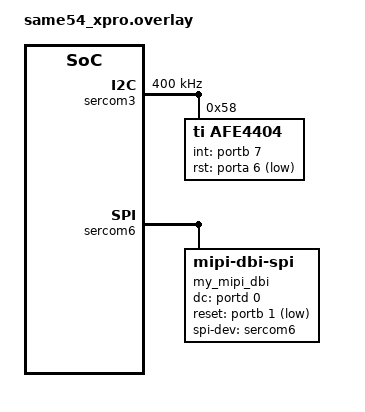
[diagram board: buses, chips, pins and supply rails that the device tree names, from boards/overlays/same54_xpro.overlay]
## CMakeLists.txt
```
cmake_minimum_required(VERSION 3.20.0)

# ------------------------------------------------------------
# Board-specific DTS overlays (MUST be set before Zephyr)
# ------------------------------------------------------------
if(DEFINED BOARD)
  if(BOARD STREQUAL "same54_xpro")
    list(APPEND DTC_OVERLAY_FILE
      ${CMAKE_CURRENT_SOURCE_DIR}/boards/overlays/same54_xpro.overlay
    )
  elseif(BOARD STREQUAL "samd21_iot_wg")
    list(APPEND DTC_OVERLAY_FILE
      ${CMAKE_CURRENT_SOURCE_DIR}/boards/overlays/samd21_iot_wg.overlay
    )
  elseif(BOARD STREQUAL "samd21_iot_wg2")
    list(APPEND DTC_OVERLAY_FILE
      ${CMAKE_CURRENT_SOURCE_DIR}/boards/overlays/samd21_iot_wg2.overlay
    )
    elseif(BOARD STREQUAL "samd21_xpro_ot")
    list(APPEND DTC_OVERLAY_FILE
      ${CMAKE_CURRENT_SOURCE_DIR}/boards/overlays/samd21_xpro_ot.overlay
    )
  endif()

endif()

find_package(Zephyr REQUIRED HINTS $ENV{ZEPHYR_BASE})

project(mchp_hrm_gfx)

target_include_directories(app PRIVATE ${CMAKE_CURRENT_SOURCE_DIR}/include)

target_sources(app PRIVATE
    src/main.c
    src/hrm_text.c
    src/hrm_chart.c
    src/afe4404.c
)
```

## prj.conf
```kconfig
# Enable console output
CONFIG_PRINTK=y
CONFIG_NEWLIB_LIBC=y
CONFIG_CBPRINTF_FP_SUPPORT=y

# Configure SPI
CONFIG_GPIO=y
CONFIG_SPI=y

# Configure I2C
CONFIG_I2C=y
CONFIG_I2C_SAM0=y
CONFIG_I2C_INIT_PRIORITY=60
CONFIG_I2C_LOG_LEVEL_DBG=y
CONFIG_PINCTRL=y
CONFIG_PINCTRL_SAM0=y

# Sensor subsystem
CONFIG_SENSOR=y

CONFIG_LOG=y
CONFIG_SENSOR_LOG_LEVEL_DBG=y
CONFIG_PINCTRL_LOG_LEVEL_DBG=y 

CONFIG_INPUT=y
CONFIG_GPIO_SAM0=y

CONFIG_MAIN_STACK_SIZE=8192
CONFIG_SYSTEM_WORKQUEUE_STACK_SIZE=4096

CONFIG_DISPLAY=y
CONFIG_DISPLAY_LOG_LEVEL_ERR=y

CONFIG_LVGL=y
CONFIG_LV_Z_MEM_POOL_SIZE=40000
CONFIG_LV_Z_VDB_SIZE=10

# Display needs data in BGR format, with endianess swapped for SPI
CONFIG_LV_COLOR_DEPTH_16=y
CONFIG_LV_COLOR_16_SWAP=y

CONFIG_SYS_CLOCK_EXISTS=y
CONFIG_LV_CONF_MINIMAL=y
CONFIG_LV_USE_LABEL=y
CONFIG_LV_USE_BUTTON=y
CONFIG_LV_USE_CHART=y
CONFIG_LV_USE_IMAGE=y
CONFIG_LV_USE_THEME_DEFAULT=y
CONFIG_LV_FONT_MONTSERRAT_28=y
CONFIG_LV_FONT_MONTSERRAT_16=y
CONFIG_LV_USE_ARC=y
CONFIG_LV_USE_SCALE=y
CONFIG_LV_USE_LINE=y

CONFIG_TICKLESS_KERNEL=n
CONFIG_LV_USE_BAR=n
CONFIG_LV_USE_DROPDOWN=n
CONFIG_LV_USE_SLIDER=n
CONFIG_LV_USE_TEXTAREA=n
CONFIG_LV_USE_CANVAS=n
CONFIG_LV_USE_THEME_MONO=n
```

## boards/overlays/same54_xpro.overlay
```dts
#include <zephyr/dt-bindings/display/panel.h>

/{
    aliases {
        afe4404sensor = &afe4404;
        spi6 = &sercom6;
    };

    chosen {
        zephyr,display = &gc9x01x_lcd;
    };   
};

&pinctrl {
	sercom6_spi_default: sercom6_spi_default {
		group1 {
			pinmux = <PC5C_SERCOM6_PAD1>,
                    <PC4C_SERCOM6_PAD0>,
	                <PC7C_SERCOM6_PAD3>;
		};
	};

    sercom3_i2c_default: sercom3_i2c_default {
        group1 {
            pinmux = <PA22C_SERCOM3_PAD0>,
                    <PA23C_SERCOM3_PAD1>;
        };
    };
};

&sercom3 {
    status = "okay";
    compatible = "atmel,sam0-i2c";
    clock-frequency = <I2C_BITRATE_FAST>;
    #address-cells = <1>;
    #size-cells = <0>;
    pinctrl-0 = <&sercom3_i2c_default>;
    pinctrl-names = "default";

    afe4404: afe4404@58 {
        status = "okay";
        compatible = "ti,afe4404";
        reg = <0x58>;

        int-gpios = <&portb 7 GPIO_ACTIVE_HIGH>;
        rst-gpios = <&porta 6 (GPIO_ACTIVE_LOW | GPIO_PULL_UP)>;
    };
};

&sercom6 {
    status = "okay";
    compatible = "atmel,sam0-spi";
    dipo = <3>;
    dopo = <0>;

    #address-cells = <1>;
    #size-cells = <0>;

    pinctrl-0 = <&sercom6_spi_default>;
	pinctrl-names = "default";

    /* Use SPI SS pin as GPIO CS */
    cs-gpios = <&portc 6 GPIO_ACTIVE_LOW>;

    my_mipi_dbi {
        compatible = "zephyr,mipi-dbi-spi";
        status = "okay";
        #address-cells = <1>;
        #size-cells = <0>;
        spi-dev = <&sercom6>;
        dc-gpios = <&portd 0 GPIO_ACTIVE_HIGH>;
        reset-gpios = <&portb 1 GPIO_ACTIVE_LOW>;

        gc9x01x_lcd: gc9x01x_lcd@0 {
            compatible = "galaxycore,gc9x01x";
            reg = <0>;
            mipi-max-frequency = <20000000>;
            pixel-format = <PANEL_PIXEL_FORMAT_RGB_565>;
            width = <240>;
            height = <240>;
            display-inversion;
        };
    };
};
```

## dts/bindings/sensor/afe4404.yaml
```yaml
# dts/bindings/sensor/afe4404.yaml
description: "TI AFE4404 Heart Rate Sensor"
compatible: "ti,afe4404"

properties:
  int-gpios:
    type: phandle-array
    required: false
    description: "Optional interrupt GPIO line"

  rst-gpios:
    type: phandle-array
    required: false
    description: "Optional Reset GPIO line"

  reg:
    type: int
    required: true
    description: "I2C address of the sensor"

# Optional: define any standard Zephyr sensor properties
```

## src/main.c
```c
/*
 * Main application for VL6180 visualization on a round display.
 *
 * This program initializes a VL6180 sensor, display, and LVGL UI to show
 * sensor data in two modes: text display, rolling chart.
 * Button presses cycle between screens.
 */
#include <zephyr/kernel.h>
#include <zephyr/sys/printk.h>
#include <zephyr/drivers/gpio.h>
#include <zephyr/input/input.h>
#include <zephyr/device.h>
#include <zephyr/drivers/sensor.h>
#include <zephyr/drivers/display.h>
#include <zephyr/drivers/spi.h>
#include <zephyr/drivers/i2c.h>
#include <lvgl.h>
#include <soc.h>
#include <stdio.h>
#include <stdlib.h>
#include "afe4404.h"
#include "hrm_text.h"
#include "hrm_chart.h"

#define SLEEP_TIME_MS 10  /* Main loop sleep time */

static volatile int irq_from_button = 0;  /* Flag set by button interrupt */
static bool button_pressed = false;  /* Current button state */

static const struct gpio_dt_spec led = GPIO_DT_SPEC_GET(DT_ALIAS(led0), gpios);

static const struct gpio_dt_spec switch0 = GPIO_DT_SPEC_GET(DT_ALIAS(sw0), gpios);
static const struct gpio_dt_spec switch1 = GPIO_DT_SPEC_GET_OR(DT_ALIAS(sw1), gpios, {0});
static const struct device *hrm_dev = DEVICE_DT_GET_ANY(ti_afe4404);

/* Static storage for the LVGL screens */
static lv_obj_t *text_screen = NULL;
static lv_obj_t *chart_screen = NULL;

#define SCREEN_COUNT 2

typedef enum {
    SCREEN_TEXT = 0,
    SCREEN_CHART
} screen_mode_t;

static screen_mode_t current_screen = SCREEN_TEXT;

/* --- Heart rate processing state --- */
#define SATURATION_THRESHOLD  2000000  /* LED saturated above this */
#define FINGER_ON_THRESHOLD   20000    /* ALED drops below this when finger present */
#define FINGER_OFF_THRESHOLD  100000   /* ALED rises above this when finger removed */
#define MIN_PEAK_INTERVAL_MS  300      /* 200 BPM max */
#define MAX_PEAK_INTERVAL_MS  2000     /* 30 BPM min */
#define BPM_SMOOTHING         0.3f     /* EMA smoothing for BPM output */

static int bpm = 0;
static bool finger_on = false;

/* DC removal filter state */
static float dc_level = 0;

/* Bandpass filter state (simple IIR) */
static float hp_prev_in = 0;
static float hp_prev_out = 0;
static float lp_out = 0;

/* Peak detection state */
static float prev_samples[3] = {0};
static uint32_t last_peak_time = 0;
static float smooth_bpm = 0;

void process_ppg(int32_t led1, int32_t aled1, int *out_bpm)
{
    /*
     * Finger detection strategy:
     * - LED1 saturates at ~2.1M when finger present (too much reflected light)
     * - ALED1 drops to ~25k when finger blocks ambient light
     * - Use ALED1 for PPG since it has variation (~500 counts) when finger present
     */
    bool led_saturated = (led1 > SATURATION_THRESHOLD);
    bool ambient_blocked = (aled1 < FINGER_OFF_THRESHOLD);

    /* Detect finger placement */
    if (!finger_on && led_saturated && ambient_blocked) {
        finger_on = true;
        dc_level = aled1;
        hp_prev_in = hp_prev_out = 0;
        lp_out = 0;
        prev_samples[0] = prev_samples[1] = prev_samples[2] = 0;
        last_peak_time = 0;
        smooth_bpm = 0;
        *out_bpm = 0;
        return;
    }

    /* Detect finger removal */
    if (finger_on && (!led_saturated || !ambient_blocked)) {
        finger_on = false;
        *out_bpm = 0;
        return;
    }

    if (!finger_on) {
        *out_bpm = 0;
        return;
    }

    /*
     * Use ALED1 (ambient) for PPG processing.
     * When LED is saturated, the small variation in ambient channel
     * contains the PPG signal from LED light bleeding through.
     */
    float raw = (float)aled1;

    /* DC removal with slow-tracking IIR (tau ~ 2-3 seconds at 100Hz) */
    dc_level = 0.995f * dc_level + 0.005f * raw;
    float ac = raw - dc_level;

    /* High-pass filter: remove drift below ~0.5Hz */
    float hp_out = 0.95f * (hp_prev_out + ac - hp_prev_in);
    hp_prev_in = ac;
    hp_prev_out = hp_out;

    /* Low-pass filter: smooth noise above ~5Hz */
    lp_out = 0.8f * lp_out + 0.2f * hp_out;

    /* Shift sample history */
    prev_samples[2] = prev_samples[1];
    prev_samples[1] = prev_samples[0];
    prev_samples[0] = lp_out;

    /* Peak detection: look for local maximum
     * Note: threshold lowered since ALED variation is small (~500 counts)
     */
    if (prev_samples[1] > prev_samples[2] &&
        prev_samples[1] > prev_samples[0] &&
        prev_samples[1] > 5.0f) {  /* Lower threshold for small signal */

        uint32_t now = k_uptime_get();

        if (last_peak_time != 0) {
            uint32_t interval = now - last_peak_time;

            if (interval >= MIN_PEAK_INTERVAL_MS && interval <= MAX_PEAK_INTERVAL_MS) {
                float instant_bpm = 60000.0f / interval;

                /* Smooth BPM with EMA, reject outliers */
                if (smooth_bpm == 0) {
                    smooth_bpm = instant_bpm;
                } else if (instant_bpm > 40 && instant_bpm < 200) {
                    smooth_bpm = BPM_SMOOTHING * instant_bpm +
                                 (1.0f - BPM_SMOOTHING) * smooth_bpm;
                }

                *out_bpm = (int)(smooth_bpm + 0.5f);
            }
        }
        last_peak_time = now;
    }
}

void heartbeat_thread(void)
{
    while (1) {
        gpio_pin_set_dt(&led, 1);
        k_msleep(100);

        gpio_pin_set_dt(&led, 0);
        k_msleep(100);

        gpio_pin_set_dt(&led, 1);
        k_msleep(100);

        gpio_pin_set_dt(&led, 0);
        k_msleep(700);
    }
}

K_THREAD_DEFINE(heartbeat_tid, 512, heartbeat_thread, NULL, NULL, NULL,
                7, 0, 0);

/*
 * LVGL input device read callback for button input.
 * Maps GPIO button state to LVGL touch events.
 */
static void lv_button_read(lv_indev_t * indev_drv, lv_indev_data_t * data)
{
    button_pressed = gpio_pin_get_dt(&switch0) == 1;
    data->state = button_pressed ? LV_INDEV_STATE_PRESSED : LV_INDEV_STATE_RELEASED;
    data->point.x = 120;  /* Dummy touch coordinates */
    data->point.y = 160;
}

/*
 * Button input event callback (legacy, not used for LVGL).
 */
static void button_input_cb(struct input_event *evt, void *user_data)
{
    if (evt->sync == 0) {
        return;
    }

    irq_from_button = 1;
    printk("Button %d %s\n", evt->code, evt->value ? "pressed" : "released");
}

INPUT_CALLBACK_DEFINE(NULL, button_input_cb, NULL);

int main(void)
{
    int ret;
    struct sensor_value led1, aled1;

    printk("Application started\n");

    /* Initialize LED GPIO */
    if (!gpio_is_ready_dt(&led)) {
        return 0;
    }

    ret = gpio_pin_configure_dt(&led, GPIO_OUTPUT_ACTIVE);
    if (ret < 0) {
        return 0;
    }

    /* Enable button interrupts */
    if (device_is_ready(switch0.port)) {
        gpio_pin_interrupt_configure_dt(&switch0, GPIO_INPUT);
    }

    if (device_is_ready(switch1.port)) {
        gpio_pin_interrupt_configure_dt(&switch1, GPIO_INPUT);
    }

    if (!device_is_ready(hrm_dev)) {
        printk("AFE4404 device not ready\n");
        return 0;
    }

    /* Initialize display and LVGL */
    const struct device *display_dev;

    display_dev = DEVICE_DT_GET(DT_CHOSEN(zephyr_display));
    if (!device_is_ready(display_dev)) {
        printk("Device not ready, aborting test\n");
        return 0;
    }

    display_set_pixel_format(display_dev, PIXEL_FORMAT_RGB_565);
    display_blanking_off(display_dev);

    /* Create LVGL input device for button */
    lv_indev_t *indev = lv_indev_create();
    lv_indev_set_type(indev, LV_INDEV_TYPE_POINTER);
    lv_indev_set_read_cb(indev, lv_button_read);

    /* ======== LVGL Screen Initialization ======== */
    /* Create text screen */
    text_screen = lv_obj_create(NULL);
    lv_scr_load(text_screen);
    hrm_text_init(text_screen);

    chart_screen = lv_obj_create(NULL);
    hrm_chart_init(chart_screen);

    /* Temporary next button */
    lv_obj_t *btn = lv_button_create(lv_screen_active());
    lv_obj_set_size(btn, 80, 40);
    lv_obj_align(btn, LV_ALIGN_CENTER, 0, 60);

    lv_obj_t *btn_label = lv_label_create(btn);
    lv_label_set_text(btn_label, "Next");
    lv_obj_center(btn_label);

    /* Main application loop */
    while (1) {
        /* Toggle LED */
        // ret = gpio_pin_toggle_dt(&led);
        // if (ret < 0) {
        //     return 0;
        // }

        /* Handle button press to switch screens */
        if (irq_from_button) {            
            irq_from_button = 0;
            button_pressed = gpio_pin_get_dt(&switch0) == 1;

            /* Remove welcome UI elements on first press */
            if (btn != NULL) {
                lv_obj_del(btn);
                btn = NULL;
            }

            if (button_pressed) {
                current_screen = (current_screen + 1) % SCREEN_COUNT;

                /* Load the new screen */
                switch(current_screen) {
                    case SCREEN_TEXT:
                        lv_scr_load(text_screen);
                        break;
                    case SCREEN_CHART:
                        lv_scr_load(chart_screen);
                        break;
                }
            }
        }

        if (sensor_sample_fetch(hrm_dev) == 0) {
            // gpio_pin_toggle_dt(&led);  /* Toggle LED on each sample for visual heartbeat */
            /* Read only the channels needed for PPG */
            sensor_channel_get(hrm_dev, SENSOR_CHAN_AFE4404_LED1, &led1);
            sensor_channel_get(hrm_dev, SENSOR_CHAN_AFE4404_ALED1, &aled1);

            process_ppg(led1.val1, aled1.val1, &bpm);

            switch(current_screen) {
                case SCREEN_TEXT:
                    update_hrm_text(bpm);
                    break;
                case SCREEN_CHART:
                    /* Pass filtered AC signal for ECG-style display */
                    update_hrm_chart((int32_t)lp_out);
                    break;
            }
        }

        /* Run LVGL timer handler for UI updates */
        lv_timer_handler();

        k_msleep(SLEEP_TIME_MS);
    }

    return 0;
}
```

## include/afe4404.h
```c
#ifndef ZEPHYR_DRIVERS_SENSOR_AFE4404_H_
#define ZEPHYR_DRIVERS_SENSOR_AFE4404_H_

#include <zephyr/drivers/i2c.h>
#include <zephyr/drivers/gpio.h>
#include <zephyr/drivers/sensor.h>

/**
 * AFE4404 custom sensor channels (starting from SENSOR_CHAN_PRIV_START)
 */
enum afe4404_channel {
    SENSOR_CHAN_AFE4404_LED1 = SENSOR_CHAN_PRIV_START,  /* LED1 (red/IR) raw */
    SENSOR_CHAN_AFE4404_LED2,                           /* LED2 (green) raw */
    SENSOR_CHAN_AFE4404_ALED1,                          /* Ambient during LED1 phase */
    SENSOR_CHAN_AFE4404_ALED2,                          /* Ambient during LED2 phase */
    SENSOR_CHAN_AFE4404_LED1_ALED1,                     /* LED1 - ambient (corrected) */
    SENSOR_CHAN_AFE4404_LED2_ALED2,                     /* LED2 - ambient (corrected) */
};


/**
 * AFE4404 Timing control registers.
 */
#define AFE4404_REG0H                       0x00
#define AFE4404_REG1H                       0x01
#define AFE4404_REG2H                       0x02
#define AFE4404_REG3H                       0x03
#define AFE4404_REG4H                       0x04
#define AFE4404_REG5H                       0x05
#define AFE4404_REG6H                       0x06
#define AFE4404_REG7H                       0x07
#define AFE4404_REG8H                       0x08
#define AFE4404_REG9H                       0x09
#define AFE4404_REGAH                       0x0A
#define AFE4404_REGBH                       0x0B
#define AFE4404_REGCH                       0x0C
#define AFE4404_REGDH                       0x0D
#define AFE4404_REGEH                       0x0E
#define AFE4404_REGFH                       0x0F
#define AFE4404_REG10H                      0x10
#define AFE4404_REG11H                      0x11
#define AFE4404_REG12H                      0x12
#define AFE4404_REG13H                      0x13
#define AFE4404_REG14H                      0x14
#define AFE4404_REG15H                      0x15
#define AFE4404_REG16H                      0x16
#define AFE4404_REG17H                      0x17
#define AFE4404_REG18H                      0x18
#define AFE4404_REG19H                      0x19
#define AFE4404_REG1AH                      0x1A
#define AFE4404_REG1BH                      0x1B
#define AFE4404_REG1CH                      0x1C
#define AFE4404_REG1DH                      0x1D
#define AFE4404_REG1EH                      0x1E
#define AFE4404_REG20H                      0x20
#define AFE4404_REG21H                      0x21
#define AFE4404_REG22H                      0x22
#define AFE4404_REG23H                      0x23
#define AFE4404_REG29H                      0x29
#define AFE4404_REG2AH                      0x2A
#define AFE4404_REG2BH                      0x2B
#define AFE4404_REG2CH                      0x2C
#define AFE4404_REG2DH                      0x2D
#define AFE4404_REG2EH                      0x2E
#define AFE4404_REG2FH                      0x2F

/* ADC result registers with descriptive names */
#define AFE4404_LED2VAL                     0x2A  /* Green LED */
#define AFE4404_ALED2VAL                    0x2B  /* Ambient during LED2 phase */
#define AFE4404_LED1VAL                     0x2C  /* Red/IR LED */
#define AFE4404_ALED1VAL                    0x2D  /* Ambient during LED1 phase */
#define AFE4404_LED2_ALED2                  0x2E  /* LED2 minus ambient */
#define AFE4404_LED1_ALED1                  0x2F  /* LED1 minus ambient */
#define AFE4404_REG31H                      0x31

/**
 * AFE4404 timing controls for dynamic power-down registers.
 */
#define AFE4404_REG32H                      0x32
#define AFE4404_REG33H                      0x33
#define AFE4404_REG34H                      0x34
#define AFE4404_REG35H                      0x35

/**
 * AFE4404 Timing controls for driving the third LED registers.
 */
#define AFE4404_REG36H                      0x36
#define AFE4404_REG37H                      0x37
#define AFE4404_REG39H                      0x39
#define AFE4404_REG3AH                      0x3A
#define AFE4404_REG3DH                      0x3D
#define AFE4404_REG3FH                      0x3F
#define AFE4404_REG40H                      0x40

/* Device configuration */
struct afe4404_config {
    struct i2c_dt_spec i2c;
    struct gpio_dt_spec int_gpio;
    struct gpio_dt_spec rst_gpio;
    bool continuous;
};

/* Runtime data */
struct afe4404_data {
    uint32_t led2_val;      /* Green LED raw */
    uint32_t aled2_val;     /* Ambient during LED2 phase */
    uint32_t led1_val;      /* Red/IR LED raw */
    uint32_t aled1_val;     /* Ambient during LED1 phase */
    uint32_t led2_diff;     /* LED2 - ambient */
    uint32_t led1_diff;     /* LED1 - ambient */

    const struct device *dev;

    /* Interrupt handling */
    struct gpio_callback gpio_cb;
    struct k_sem data_ready;
};

#endif /* ZEPHYR_DRIVERS_SENSOR_AFE4404_H_ */
```

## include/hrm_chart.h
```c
/**
 * @file hrm_chart.h
 *
 * Helper APIs for rendering a rolling HRM sensor chart using LVGL.
 * This module creates a small oscilloscope-style chart that plots the
 * HRM channel in real time.
 */
#ifndef _HRM_CHART_H
#define _HRM_CHART_H

#include <zephyr/drivers/sensor.h>
#include <lvgl.h>
#include <stdint.h>

/**
 * Initialize the HRM chart.
 *
 * This must be called once before calling update_hrm_chart(). The returned
 * object is the same parent that was passed in, which allows chaining in the
 * caller if desired.
 *
 * @param parent The LVGL object to contain the chart.
 * @return The same parent object passed in.
 */
lv_obj_t* hrm_chart_init(lv_obj_t *parent);

/**
 * Push new filtered AC sample into the ECG chart.
 *
 * This should be called whenever a new sample is available.
 * Pass the filtered AC component (lp_out) for ECG-style display.
 *
 * @param ac_value The filtered AC signal from PPG processing.
 */
void update_hrm_chart(int32_t ac_value);

#endif /* _HRM_CHART_H */
```

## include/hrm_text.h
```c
/**
 * @file bme280_text.h
 *
 * Helper APIs for BME280 sensor text display using LVGL.
 * This module creates a simple text-based display for showing real-time
 * sensor values (Temperature/Pressure/Humidity).
 */
#ifndef _HRM_TEXT_H
#define _HRM_TEXT_H

#include <zephyr/drivers/sensor.h>
#include <lvgl.h>
#include <stdint.h>

/**
 * Initialize the HRM Text.
 *
 * This must be called once before calling update_hrm_text(). The returned
 * object is the same parent that was passed in, which allows chaining in the
 * caller if desired.
 *
 * @param parent The LVGL object to contain the text.
 * @return The same parent object passed in.
 */
lv_obj_t* hrm_text_init(lv_obj_t *parent);

/**
 * Push new heart rate samples into the text.
 *
 * This should be called whenever a new heart rate sample is available.
 *
 * @param bpm The current beats per minute value.
 */
void update_hrm_text(int bpm);

#endif /* _HRM_TEXT_H */
```

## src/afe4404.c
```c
#define DT_DRV_COMPAT ti_afe4404

#include <zephyr/kernel.h>
#include <zephyr/device.h>
#include <zephyr/drivers/i2c.h>
#include <zephyr/drivers/gpio.h>
#include <zephyr/drivers/sensor.h>
#include <zephyr/sys/printk.h>

#include "afe4404.h"

/* --- Low-level I2C --- */
static int write_reg24(const struct i2c_dt_spec *i2c, uint8_t reg, uint32_t val)
{
    /* AFE4404 registers are 24-bit: [addr][MSB][MID][LSB]. */
    uint8_t buf[4];
    buf[0] = reg;
    buf[1] = val >> 16;
    buf[2] = val >> 8;
    buf[3] = val;
    return i2c_write_dt(i2c, buf, 4);
}

static int read_reg24(const struct i2c_dt_spec *i2c, uint8_t reg, uint32_t *val)
{
    uint8_t hr_storage[5];
    uint8_t buf[2];
    uint32_t return_value = 0;
    int rval;

    buf[0] = reg;
    rval = i2c_write_read_dt(i2c, buf, 1, hr_storage, 3);
    
    /* Rebuild host-endian 24-bit value from the device byte stream. */
    return_value = hr_storage[0];
    return_value = return_value << 16;
    return_value |= hr_storage[1] << 8;
    return_value |= hr_storage[2];
    *val = return_value;

    return rval;
}

/* --- GPIO interrupt callback --- */
static void afe4404_gpio_callback(const struct device *port,
                                  struct gpio_callback *cb,
                                  uint32_t pins)
{
    ARG_UNUSED(port);
    ARG_UNUSED(pins);

    struct afe4404_data *data =
        CONTAINER_OF(cb, struct afe4404_data, gpio_cb);

    /* Wake the sampling thread waiting for DRDY. */
    k_sem_give(&data->data_ready);
}

/* --- Sensor init --- */
static int afe4404_init(const struct device *dev)
{
    const struct afe4404_config *cfg = dev->config;
    struct afe4404_data *data = dev->data;

    /* configure the enable pin and reset the device to a known state*/
    if (cfg->rst_gpio.port && device_is_ready(cfg->rst_gpio.port)) {
        const struct gpio_dt_spec rst_gpio = cfg->rst_gpio;
        const struct device* port = rst_gpio.port;

        gpio_pin_configure(port, rst_gpio.pin, GPIO_OUTPUT);
        gpio_pin_set(port, rst_gpio.pin, 1);
        k_msleep(2);
        gpio_pin_set(port, rst_gpio.pin, 0);     // Pull low to reset (pin is active low)
        k_msleep(10);                           // Hold 10 ms
        gpio_pin_set(port, rst_gpio.pin, 1);     // Release
        k_msleep(2);                            // Wait for stabilization
    }

    if (!device_is_ready(cfg->i2c.bus)) {
        printk("AFE4404: I2C bus not ready\n");
        return -ENODEV;
    }

    data->dev = dev;
    k_sem_init(&data->data_ready, 0, 1);

    /*
     * Program timing/control registers for the HRM use case.
     * These values define LED/ADC phases, conversion windows, and clocking.
     */
    write_reg24( &cfg->i2c, AFE4404_REG0H, 0x000000 );
    write_reg24( &cfg->i2c, AFE4404_REG1H, 0x000050 );
    write_reg24( &cfg->i2c, AFE4404_REG2H, 0x00018F );
    write_reg24( &cfg->i2c, AFE4404_REG3H, 0x000320 );
    write_reg24( &cfg->i2c, AFE4404_REG4H, 0x0004AF );
    write_reg24( &cfg->i2c, AFE4404_REG5H, 0x0001E0 );
    write_reg24( &cfg->i2c, AFE4404_REG6H, 0x00031F );
    write_reg24( &cfg->i2c, AFE4404_REG7H, 0x000370 );
    write_reg24( &cfg->i2c, AFE4404_REG8H, 0x0004AF );
    write_reg24( &cfg->i2c, AFE4404_REG9H, 0x000000 );
    write_reg24( &cfg->i2c, AFE4404_REGAH, 0x00018F );
    write_reg24( &cfg->i2c, AFE4404_REGBH, 0x0004FF );
    write_reg24( &cfg->i2c, AFE4404_REGCH, 0x00063E );
    write_reg24( &cfg->i2c, AFE4404_REGDH, 0x000198 );
    write_reg24( &cfg->i2c, AFE4404_REGEH, 0x0005BB );
    write_reg24( &cfg->i2c, AFE4404_REGFH, 0x0005C4 );
    write_reg24( &cfg->i2c, AFE4404_REG10H, 0x0009E7 );
    write_reg24( &cfg->i2c, AFE4404_REG11H, 0x0009F0 );
    write_reg24( &cfg->i2c, AFE4404_REG12H, 0x000E13 );
    write_reg24( &cfg->i2c, AFE4404_REG13H, 0x000E1C );
    write_reg24( &cfg->i2c, AFE4404_REG14H, 0x00123F );
    write_reg24( &cfg->i2c, AFE4404_REG15H, 0x000191 );
    write_reg24( &cfg->i2c, AFE4404_REG16H, 0x000197 );
    write_reg24( &cfg->i2c, AFE4404_REG17H, 0x0005BD );
    write_reg24( &cfg->i2c, AFE4404_REG18H, 0x0005C3 );
    write_reg24( &cfg->i2c, AFE4404_REG19H, 0x0009E9 );
    write_reg24( &cfg->i2c, AFE4404_REG1AH, 0x0009EF );
    write_reg24( &cfg->i2c, AFE4404_REG1BH, 0x000E15 );
    write_reg24( &cfg->i2c, AFE4404_REG1CH, 0x000E1B );
    write_reg24( &cfg->i2c, AFE4404_REG1DH, 0x009C3E );
    write_reg24( &cfg->i2c, AFE4404_REG1EH, 0x000103 ); 
    write_reg24( &cfg->i2c, AFE4404_REG20H, 0x008003 ); 
    write_reg24( &cfg->i2c, AFE4404_REG21H, 0x000013 ); 
    write_reg24( &cfg->i2c, AFE4404_REG22H, 0x01B6D9 ); 
    write_reg24( &cfg->i2c, AFE4404_REG23H, 0x104218 ); 
    write_reg24( &cfg->i2c, AFE4404_REG29H, 0x000000 ); 
    write_reg24( &cfg->i2c, AFE4404_REG31H, 0x000000 ); 
    write_reg24( &cfg->i2c, AFE4404_REG32H, 0x00155F ); 
    write_reg24( &cfg->i2c, AFE4404_REG33H, 0x00991E ); 
    write_reg24( &cfg->i2c, AFE4404_REG34H, 0x000000 );
    write_reg24( &cfg->i2c, AFE4404_REG35H, 0x00000f ); 
    write_reg24( &cfg->i2c, AFE4404_REG36H, 0x000190 ); 
    write_reg24( &cfg->i2c, AFE4404_REG37H, 0x00031F ); 
    write_reg24( &cfg->i2c, AFE4404_REG39H, 0x000000 ); 
    write_reg24( &cfg->i2c, AFE4404_REG3AH, 0x000000 );

    /* Configure interrupt GPIO setup */
    if (cfg->int_gpio.port && device_is_ready(cfg->int_gpio.port)) {
        gpio_pin_configure_dt(&cfg->int_gpio, GPIO_INPUT);

        gpio_init_callback(&data->gpio_cb,
                           afe4404_gpio_callback,
                           BIT(cfg->int_gpio.pin));

        gpio_add_callback(cfg->int_gpio.port, &data->gpio_cb);        
        
        gpio_pin_interrupt_configure_dt(&cfg->int_gpio,
                                        GPIO_INT_EDGE_TO_ACTIVE);
    }

    printk("AFE4404 init OK\n");
    return 0;
}

/* --- Sample fetch --- */
static int afe4404_sample_fetch(const struct device *dev,
                                enum sensor_channel chan)
{
    struct afe4404_data *data = dev->data;
    const struct afe4404_config *cfg = dev->config;

    ARG_UNUSED(chan);

    /* Wait for DRDY from GPIO interrupt before reading a fresh conversion. */
    if (k_sem_take(&data->data_ready, K_MSEC(10)) != 0) {
        return -ETIMEDOUT;
    }

    /* Read only the registers needed for PPG processing */
    read_reg24(&cfg->i2c, AFE4404_LED1VAL,  &data->led1_val);   /* Saturation detection */
    read_reg24(&cfg->i2c, AFE4404_ALED1VAL, &data->aled1_val);  /* PPG signal */

    return 0;
}

/* --- Channel get --- */
static int afe4404_channel_get(const struct device *dev,
                               enum sensor_channel chan,
                               struct sensor_value *val)
{
    struct afe4404_data *data = dev->data;

    val->val2 = 0;

    switch (chan) {
    /* Standard Zephyr sensor channels */
    case SENSOR_CHAN_GREEN:
    case SENSOR_CHAN_AFE4404_LED2:
        val->val1 = data->led2_val;
        break;
    case SENSOR_CHAN_RED:
    case SENSOR_CHAN_AFE4404_LED1:
        val->val1 = data->led1_val;
        break;
    case SENSOR_CHAN_LIGHT:
    case SENSOR_CHAN_AFE4404_LED1_ALED1:
        val->val1 = data->led1_diff;
        break;
    case SENSOR_CHAN_IR:
    case SENSOR_CHAN_AFE4404_LED2_ALED2:
        val->val1 = data->led2_diff;
        break;

    /* AFE4404 ambient channels */
    case SENSOR_CHAN_AFE4404_ALED1:
        val->val1 = data->aled1_val;
        break;
    case SENSOR_CHAN_AFE4404_ALED2:
        val->val1 = data->aled2_val;
        break;

    default:
        return -ENOTSUP;
    }

    return 0;
}

/* --- API --- */
static const struct sensor_driver_api afe4404_api = {
    .sample_fetch = afe4404_sample_fetch,
    .channel_get = afe4404_channel_get,
};

/* --- Instance macro --- */
#define AFE4404_DEFINE(inst)                                      \
    static struct afe4404_data afe4404_data_##inst;               \
    static const struct afe4404_config afe4404_config_##inst = {  \
        .i2c = I2C_DT_SPEC_INST_GET(inst),                        \
        .int_gpio = GPIO_DT_SPEC_INST_GET_OR(inst, int_gpios, {0}), \
        .rst_gpio = GPIO_DT_SPEC_INST_GET_OR(inst, rst_gpios, {0}), \
    };                                                           \
    DEVICE_DT_INST_DEFINE(inst,                                  \
                          afe4404_init,                          \
                          NULL,                                  \
                          &afe4404_data_##inst,                  \
                          &afe4404_config_##inst,                \
                          POST_KERNEL,                           \
                          CONFIG_SENSOR_INIT_PRIORITY,           \
                          &afe4404_api);

DT_INST_FOREACH_STATUS_OKAY(AFE4404_DEFINE)
```

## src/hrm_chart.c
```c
/*
 * ECG-style heart rate chart using LVGL.
 *
 * Displays the filtered PPG signal as a classic hospital monitor trace
 * with a sweeping line on a dark background.
 */
#include <zephyr/kernel.h>
#include <zephyr/sys/printk.h>
#include <stdlib.h>
#include <stdio.h>
#include <lvgl.h>
#include <math.h>
#include "hrm_chart.h"

static lv_obj_t *chart;
static lv_chart_series_t *ser_ecg;

/* Auto-scaling state - tracks signal range for tight zoom */
static float sig_min = 0;
static float sig_max = 100;
static bool first_sample = true;
static int32_t last_y_lo = -100;
static int32_t last_y_hi = 300;

lv_obj_t* hrm_chart_init(lv_obj_t *parent)
{
    /* Black background for parent (ECG monitor style) */
    lv_obj_set_style_bg_color(parent, lv_color_black(), 0);
    lv_obj_set_style_bg_opa(parent, LV_OPA_COVER, 0);

    /* Create chart */
    chart = lv_chart_create(parent);
    lv_obj_set_size(chart, 230, 180);
    lv_obj_align(chart, LV_ALIGN_CENTER, 0, 10);

    /* Dark background with subtle grid (hospital monitor style) */
    lv_obj_set_style_bg_color(chart, lv_color_hex(0x001000), 0);
    lv_obj_set_style_bg_opa(chart, LV_OPA_COVER, 0);
    lv_obj_set_style_border_width(chart, 2, 0);
    lv_obj_set_style_border_color(chart, lv_color_hex(0x004400), 0);
    lv_obj_set_style_radius(chart, 4, 0);

    /* Minimal grid for performance */
    lv_chart_set_div_line_count(chart, 0, 0);

    /* Line chart type */
    lv_chart_set_type(chart, LV_CHART_TYPE_LINE);

    /* Circular mode for continuous sweep */
    lv_chart_set_update_mode(chart, LV_CHART_UPDATE_MODE_CIRCULAR);

    /* Hide point indicators - show only the line */
    lv_obj_set_style_size(chart, 0, 0, LV_PART_INDICATOR);

    /* Reduced point count for better performance */
    lv_chart_set_point_count(chart, 100);

    /* Y range for filtered AC signal */
    lv_chart_set_range(chart, LV_CHART_AXIS_PRIMARY_Y, -100, 300);

    /* Bright green trace */
    ser_ecg = lv_chart_add_series(chart,
        lv_color_hex(0x00FF00),
        LV_CHART_AXIS_PRIMARY_Y);

    /* Thin line for faster rendering */
    lv_obj_set_style_line_width(chart, 1, LV_PART_ITEMS);

    return parent;
}

/**
 * update_hrm_chart - add new filtered AC sample to the ECG trace
 *
 * @param ac_value The filtered AC component from process_ppg (lp_out)
 */
void update_hrm_chart(int32_t ac_value)
{
    float val = (float)ac_value;

    /*
     * Auto-scaling: Track signal min/max with fast attack, slow decay.
     */
    if (first_sample) {
        sig_min = val - 50;
        sig_max = val + 50;
        first_sample = false;
    } else {
        /* Fast attack - immediately expand to fit new extremes */
        if (val < sig_min) sig_min = val;
        if (val > sig_max) sig_max = val;

        /* Slow decay - gradually shrink range toward signal */
        float center = (sig_min + sig_max) / 2.0f;
        sig_min = sig_min + (center - sig_min) * 0.01f;
        sig_max = sig_max - (sig_max - center) * 0.01f;
    }

    /* Ensure minimum range */
    float range = sig_max - sig_min;
    if (range < 50) {
        float center = (sig_min + sig_max) / 2.0f;
        sig_min = center - 25;
        sig_max = center + 25;
        range = 50;
    }

    /* Calculate new range with margin */
    int32_t margin = (int32_t)(range * 0.15f);
    int32_t y_lo = (int32_t)sig_min - margin;
    int32_t y_hi = (int32_t)sig_max + margin;

    /* Only update range if changed significantly (>5%) - avoids costly redraws */
    if (abs(y_lo - last_y_lo) > (last_y_hi - last_y_lo) / 20 ||
        abs(y_hi - last_y_hi) > (last_y_hi - last_y_lo) / 20) {
        lv_chart_set_range(chart, LV_CHART_AXIS_PRIMARY_Y, y_lo, y_hi);
        last_y_lo = y_lo;
        last_y_hi = y_hi;
    }

    /* Add the sample - LVGL handles invalidation */
    lv_chart_set_next_value(chart, ser_ecg, ac_value);

    /* Clear points ahead of cursor for sweep effect */
    uint32_t point_count = lv_chart_get_point_count(chart);
    uint32_t cursor_idx = lv_chart_get_x_start_point(chart, ser_ecg);
    int32_t *data = lv_chart_get_series_y_array(chart, ser_ecg);

    for (int i = 1; i <= 4; i++) {
        data[(cursor_idx + i) % point_count] = LV_CHART_POINT_NONE;
    }

    /* Let LVGL handle redraw naturally - no explicit refresh */
}
```

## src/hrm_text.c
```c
/*
 * Heart-rate monitor (HRM) text display module.
 *
 * Provides a minimal LVGL-based UI that shows the current heart rate
 * as a large centred label (e.g. "72 bpm") inside a black container.
 * Call hrm_text_init() once to build the widget tree, then call
 * update_hrm_text() each time a new BPM value is available.
 */
#include <stdlib.h>
#include <stdio.h>
#include <zephyr/kernel.h>
#include <zephyr/sys/printk.h>
#include <zephyr/drivers/sensor.h>
#include <lvgl.h>
#include <math.h>
#include "hrm_text.h"

#define LABEL_X_OFFSET 10  /* Horizontal offset for labels from left edge */

static lv_obj_t *screen_text;  /* Outer container widget */
static lv_obj_t *label_bpm;    /* BPM value label       */

/**
 * hrm_text_init() - Build the HRM text widget tree.
 * @parent: LVGL parent object to attach the container to.
 *
 * Creates a 180x100 black container centred on @parent and places a
 * white 28-pt label inside it, initially showing "-- bpm".
 *
 * Return: @parent (pass-through for chaining).
 */
lv_obj_t* hrm_text_init(lv_obj_t *parent)
{
    /* Create and style the outer container (black background, centred) */
    screen_text = lv_obj_create(parent);
    lv_obj_set_style_bg_color(screen_text, lv_color_black(), 0);
    lv_obj_set_size(screen_text, 180, 100);
    lv_obj_center(screen_text);

    /* Create the BPM label (large white text, centred in container) */
    label_bpm = lv_label_create(screen_text);
    lv_obj_set_style_text_color(label_bpm, lv_color_white(), 0);
    lv_obj_set_style_text_font(label_bpm, &lv_font_montserrat_28, 0);
    lv_label_set_text(label_bpm, "-- bpm");
    lv_obj_align(label_bpm, LV_ALIGN_CENTER, 0, 0);

    return parent;   
}

/**
 * update_hrm_text() - Refresh the displayed heart-rate value.
 * @bpm: Beats-per-minute to display.  Values <= 0 show "-- bpm"
 *       to indicate that no valid reading is available.
 */
void update_hrm_text(int bpm)
{
    char buf[32];

    if (bpm > 0) {
        snprintf(buf, sizeof(buf), "%d bpm", bpm);
    } else {
        snprintf(buf, sizeof(buf), "-- bpm");
    }
    lv_label_set_text(label_bpm, buf);
}
```
